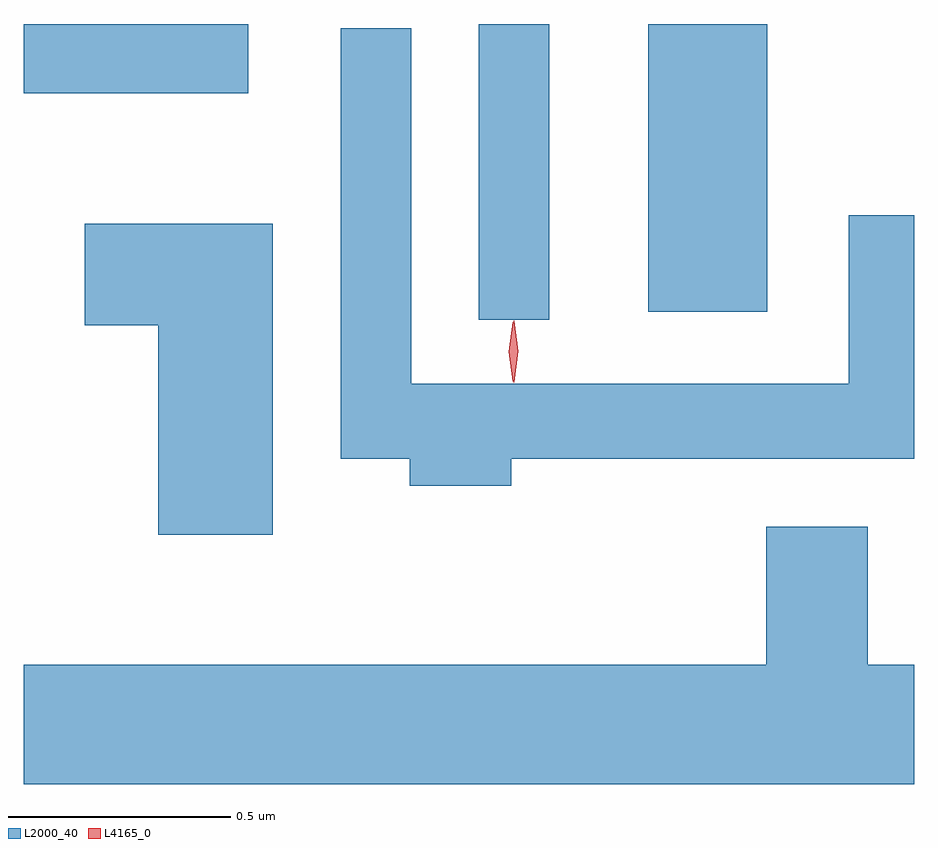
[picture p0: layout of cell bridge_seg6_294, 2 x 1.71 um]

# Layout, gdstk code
import gdstk
lib = gdstk.Library(unit=1e-6, precision=1e-09)
def R(c, l, rs):  # rectangles x0, y0, x1, y1
    for r in rs: c.add(gdstk.rectangle(r[:2], r[2:], *l))
def P(c, l, *ps):  # polygons
    for p in ps: c.add(gdstk.Polygon(p, *l))
L2000_40 = (2000, 40)
L4165_0 = (4165, 0)

bridge_seg6_294 = lib.new_cell('bridge_seg6_294')
R(bridge_seg6_294, L2000_40, [(1247.546,1562.178,1247.704,1562.842), (1247.926,1562.196,1248.194,1562.842), (1246.524,1562.686,1247.029,1562.842)])
P(bridge_seg6_294, L2000_40, [(1247.619,1561.866),(1248.524,1561.866),(1248.524,1562.413),(1248.376,1562.413),(1248.376,1562.034),(1247.394,1562.034),(1247.394,1562.833),(1247.236,1562.833),(1247.236,1561.866),(1247.391,1561.866),(1247.391,1561.806),(1247.619,1561.806)],
  [(1247.084,1562.394),(1246.661,1562.394),(1246.661,1562.166),(1246.826,1562.166),(1246.826,1561.696),(1247.084,1561.696)],
  [(1248.524,1561.404),(1248.419,1561.404),(1248.419,1561.714),(1248.191,1561.714),(1248.191,1561.404),(1246.524,1561.404),(1246.524,1561.136),(1248.524,1561.136)])
P(bridge_seg6_294, L4165_0, [(1247.625,1562.037),(1247.625,1562.038),(1247.615,1562.107),(1247.625,1562.176),(1247.625,1562.176),(1247.626,1562.176),(1247.635,1562.107),(1247.626,1562.038)],
  [(1247.622,1562.04),(1247.622,1562.04),(1247.613,1562.106),(1247.622,1562.172),(1247.623,1562.173),(1247.623,1562.172),(1247.632,1562.106),(1247.623,1562.04)])

lib.write_gds('bridge_seg6_294.gds')
